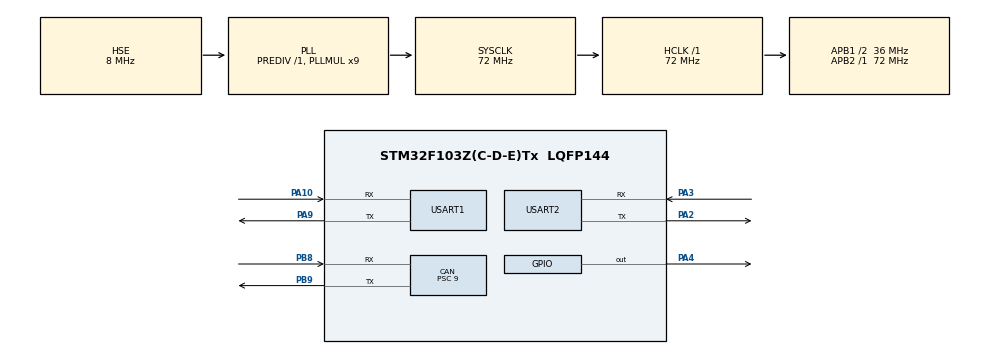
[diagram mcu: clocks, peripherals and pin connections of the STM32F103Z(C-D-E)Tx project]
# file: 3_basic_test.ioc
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CAN.BS1=CAN_BS1_6TQ
CAN.CalculateBaudRate=500000
CAN.CalculateTimeBit=2000.00
CAN.CalculateTimeQuantum=250.0
CAN.Prescaler=9
Mcu.Family=STM32F1
Mcu.Name=STM32F103Z(C-D-E)Tx
Mcu.Package=LQFP144
NVIC.PriorityGroup=NVIC_PRIORITYGROUP_4
NVIC.TIM3_IRQn=true\:0\:0\:false\:false\:true\:true\:true
NVIC.USART2_IRQn=true\:0\:0\:false\:false\:true\:true\:true
NVIC.USB_LP_CAN1_RX0_IRQn=true\:0\:0\:false\:false\:true\:true\:true
OSC_IN.Mode=HSE-External-Oscillator
OSC_IN.Signal=RCC_OSC_IN
OSC_OUT.Mode=HSE-External-Oscillator
OSC_OUT.Signal=RCC_OSC_OUT
PA10.Mode=Asynchronous
PA10.Signal=USART1_RX
PA13.Mode=Serial_Wire
PA13.Signal=SYS_JTMS-SWDIO
PA14.Mode=Serial_Wire
PA14.Signal=SYS_JTCK-SWCLK
PA2.Mode=Asynchronous
PA2.Signal=USART2_TX
PA3.Mode=Asynchronous
PA3.Signal=USART2_RX
PA4.GPIO_ModeDefaultOutputPP=GPIO_MODE_OUTPUT_PP
PA4.GPIO_PuPd=GPIO_PULLUP
PA4.GPIO_Speed=GPIO_SPEED_FREQ_HIGH
PA4.Signal=GPIO_Output
PA9.Mode=Asynchronous
PA9.Signal=USART1_TX
PB8.Mode=CAN_Activate
PB8.Signal=CAN_RX
PB9.Mode=CAN_Activate
PB9.Signal=CAN_TX
ProjectManager.HeapSize=0x200
ProjectManager.StackSize=0x400
ProjectManager.TargetToolchain=MDK-ARM V5.27
RCC.AHBFreq_Value=72000000
RCC.APB1CLKDivider=RCC_HCLK_DIV2
RCC.APB1Freq_Value=36000000
RCC.APB1TimFreq_Value=72000000
RCC.APB2Freq_Value=72000000
RCC.APB2TimFreq_Value=72000000
RCC.HCLKFreq_Value=72000000
RCC.PLLMUL=RCC_PLL_MUL9
RCC.PLLSourceVirtual=RCC_PLLSOURCE_HSE
RCC.SYSCLKFreq_VALUE=72000000
RCC.SYSCLKSource=RCC_SYSCLKSOURCE_PLLCLK
RCC.USBFreq_Value=72000000
TIM3.AutoReloadPreload=TIM_AUTORELOAD_PRELOAD_ENABLE
TIM3.Period=65535
TIM3.Prescaler=719
USART1.VirtualMode=VM_ASYNC
USART2.VirtualMode=VM_ASYNC
VP_TIM3_VS_ClockSourceINT.Mode=Internal
board=custom

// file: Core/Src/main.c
/* USER CODE BEGIN Header */
/**
  ******************************************************************************
  * @file           : main.c
  * @brief          : Main program body
  ******************************************************************************
  * @attention
  *
  * <h2><center>&copy; Copyright (c) 2025 STMicroelectronics.
  * All rights reserved.</center></h2>
  *
  * This software component is licensed by ST under BSD 3-Clause license,
  * the "License"; You may not use this file except in compliance with the
  * License. You may obtain a copy of the License at:
  *                        opensource.org/licenses/BSD-3-Clause
  *
  ******************************************************************************
  */
/* USER CODE END Header */
#include "main.h"
#include "bsp_can.h"
#include "tim.h"
#include "usart.h"
#include "gpio.h"

/* USER CODE BEGIN Includes */
#include <applicfg.h>
#include <stdlib.h>
#include "canfestival.h"
// #include "config.h" // dardware下
#include "TestAll.h"
#include "data.h"
#include <stdio.h>
/* USER CODE END Includes */

/* USER CODE BEGIN PV */
static UNS32 SDO_TIMEOUT = 1000; // 1秒超时
static volatile UNS8 SDO_COMPLETE = 0;
static volatile UNS32 SDO_RESULT = 0;
/* USER CODE END PV */

void SystemClock_Config(void);

/* USER CODE BEGIN 0 */
void SDOCallback(CO_Data* d, UNS8 nodeId)
{
    UNS32 abortCode;
    UNS8 res = getWriteResultNetworkDict(d, nodeId, &abortCode);

    if (res == SDO_FINISHED) {
        printf("SDO写入成功: nodeId=0x%02X\n", nodeId);
        SDO_RESULT = 0;
    } else {
        printf("SDO写入失败: nodeId=0x%02X, res=0x%02X, abortCode=0x%08X\n",
               nodeId, res, abortCode);
        SDO_RESULT = abortCode;
    }
    SDO_COMPLETE = 1;
}

// SDO写入函数
UNS8 SDO_Write(CO_Data* d, UNS8 nodeId, UNS16 index, UNS8 subIndex, void* data, UNS32 size)
{
    UNS8 err;
    UNS32 startTime;

    // 重置状态
    SDO_COMPLETE = 0;
    SDO_RESULT = 0;

    // 发送SDO写请求
    // err = writeNetworkDictCallBack(d, nodeId, index, subIndex, size, data, SDOCallback, 0);
    err = writeNetworkDictCallBack(d,
        nodeId,         // 目标节点
        index,          // 目标索引
        subIndex,       // 子索引
        size,          // 数据长度
        0,             // 数据类型（0表示自动）
        data,          // 数据指针
        SDOCallback,   // 回调函数
        0              // 字节序
    );

    if (err != 0) {
        printf("SDO写入请求发送失败: err=0x%02X\n", err);
        return err;
    }

    // 等待响应
    startTime = HAL_GetTick();
    while (!SDO_COMPLETE) {
        if (HAL_GetTick() - startTime > SDO_TIMEOUT) {
            printf("SDO写入超时\n");
            return 0xFF;
        }
    }

    return (SDO_RESULT == 0) ? 0 : 0xFF;
}

/* USER CODE END 0 */

int main(void)
{

  /* MCU Configuration--------------------------------------------------------*/

  /* Reset of all peripherals, Initializes the Flash interface and the Systick. */
  HAL_Init();

  /* Configure the system clock */
  SystemClock_Config();

  /* Initialize all configured peripherals */
  MX_GPIO_Init();
  MX_CAN_Init();
  MX_USART2_UART_Init();
  MX_TIM3_Init();
  MX_USART1_UART_Init();
  /* USER CODE BEGIN 2 */
	printf("hello world\n");
  Configure_Filter();
  HAL_CAN_Start(&hcan);
  HAL_CAN_ActivateNotification(&hcan,CAN_IT_RX_FIFO0_MSG_PENDING);
	HAL_TIM_Base_Start_IT(&htim3);

	unsigned char nodeID = 0x00;                   //节点ID
	setNodeId(&TestAll_Data, nodeID);
	setState(&TestAll_Data, Initialisation);				//节点初始化
	setState(&TestAll_Data, Operational);

  /* USER CODE END 2 */

  /* Infinite loop */
  while (1)
  {

    printf("master test\n");

    // 打印当前状态
    printf("主站状态: %d\n", getState(&TestAll_Data));
    printf("SDO状态: %d\n", TestAll_Data.CurrentCommunicationState.csSDO);

    // SDO写入测试
    INTEGER8 data1 = 0x12;
    UNS8 res = SDO_Write(&TestAll_Data, 0x02, 0x2001, 0x00, &data1, sizeof(INTEGER8));

    HAL_Delay(1000);

  }
}

void SystemClock_Config(void)
{
  RCC_OscInitTypeDef RCC_OscInitStruct = {0};
  RCC_ClkInitTypeDef RCC_ClkInitStruct = {0};

  /** Initializes the RCC Oscillators according to the specified parameters
  * in the RCC_OscInitTypeDef structure.
  */
  RCC_OscInitStruct.OscillatorType = RCC_OSCILLATORTYPE_HSE;
  RCC_OscInitStruct.HSEState = RCC_HSE_ON;
  RCC_OscInitStruct.HSEPredivValue = RCC_HSE_PREDIV_DIV1;
  RCC_OscInitStruct.HSIState = RCC_HSI_ON;
  RCC_OscInitStruct.PLL.PLLState = RCC_PLL_ON;
  RCC_OscInitStruct.PLL.PLLSource = RCC_PLLSOURCE_HSE;
  RCC_OscInitStruct.PLL.PLLMUL = RCC_PLL_MUL9;
  if (HAL_RCC_OscConfig(&RCC_OscInitStruct) != HAL_OK)
  {
    Error_Handler();
  }
  /** Initializes the CPU, AHB and APB buses clocks
  */
  RCC_ClkInitStruct.ClockType = RCC_CLOCKTYPE_HCLK|RCC_CLOCKTYPE_SYSCLK
                              |RCC_CLOCKTYPE_PCLK1|RCC_CLOCKTYPE_PCLK2;
  RCC_ClkInitStruct.SYSCLKSource = RCC_SYSCLKSOURCE_PLLCLK;
  RCC_ClkInitStruct.AHBCLKDivider = RCC_SYSCLK_DIV1;
  RCC_ClkInitStruct.APB1CLKDivider = RCC_HCLK_DIV2;
  RCC_ClkInitStruct.APB2CLKDivider = RCC_HCLK_DIV1;

  if (HAL_RCC_ClockConfig(&RCC_ClkInitStruct, FLASH_LATENCY_2) != HAL_OK)
  {
    Error_Handler();
  }
}

void Error_Handler(void)
{
  __disable_irq();
  while (1)
  {
  }
}

/************************ (C) COPYRIGHT STMicroelectronics *****END OF FILE****/
